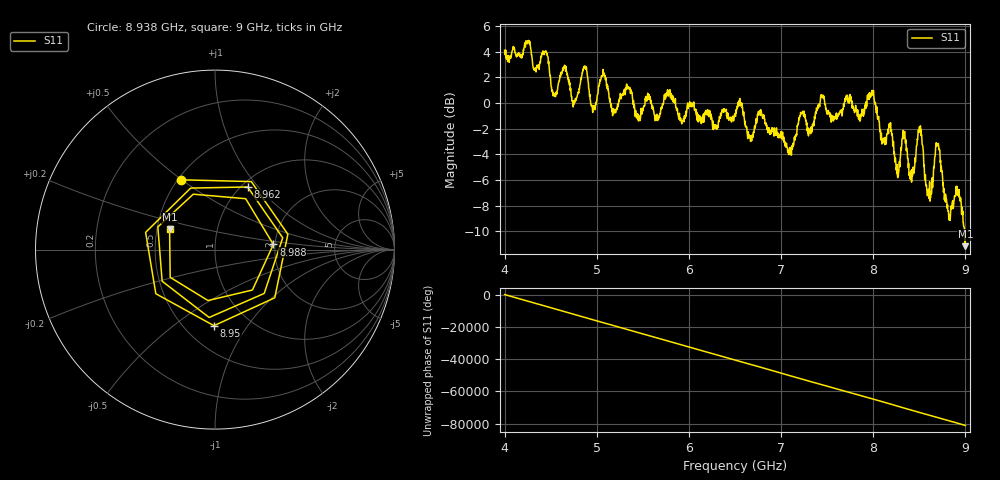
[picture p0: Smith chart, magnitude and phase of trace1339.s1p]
! Created with skrf 1.8.0 (http://scikit-rf.org).
# Hz S RI R 50.0
!freq ReS11 ImS11
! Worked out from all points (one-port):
!   1601 points, 4 GHz to 9 GHz, reference 50 ohm
!   lowest |S11| = -11.1 dB at 9 GHz (marker M1), VSWR 1.77, Z = 29.2 + j7.16 ohm
!   |S11| at or under -10 dB: 8.989539 GHz to end of sweep
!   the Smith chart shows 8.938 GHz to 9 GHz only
!   S11 on the Smith chart (normalised r, x): 8.938 GHz: 0.52, +0.50; 8.95 GHz: 0.69, -0.71; 8.962 GHz: 1.07, +0.88; 8.988 GHz: 1.96, +0.13; 9 GHz: 0.58, +0.14
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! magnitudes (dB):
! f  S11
! 4 GHz  4.1
! 4.441 GHz  4.0
! 4.541 GHz  0.6
! 4.625 GHz  2.4
! 4.75 GHz  -0.1
! 4.869 GHz  2.9
! 4.959 GHz  -0.4
! 5.066 GHz  2.1
! 5.25 GHz  0.3
! 5.875 GHz  -0.5
! 6.5 GHz  -0.9
! 7.125 GHz  -3.4
! 7.225 GHz  -0.8
! 7.75 GHz  0.7
! 7.984 GHz  0.8
! 8.256 GHz  -5.5
! 8.331 GHz  -2.3
! 8.375 GHz  -4.3
! 8.422 GHz  -5.2
! 8.503 GHz  -1.8
! 8.606 GHz  -7.4
! 8.7 GHz  -3.3
! 8.812 GHz  -8.4
! 8.938 GHz  -7.3
! 8.95 GHz  -7.5
! 8.962 GHz  -8.1
! 8.988 GHz  -9.7
! 9 GHz  -11.1
